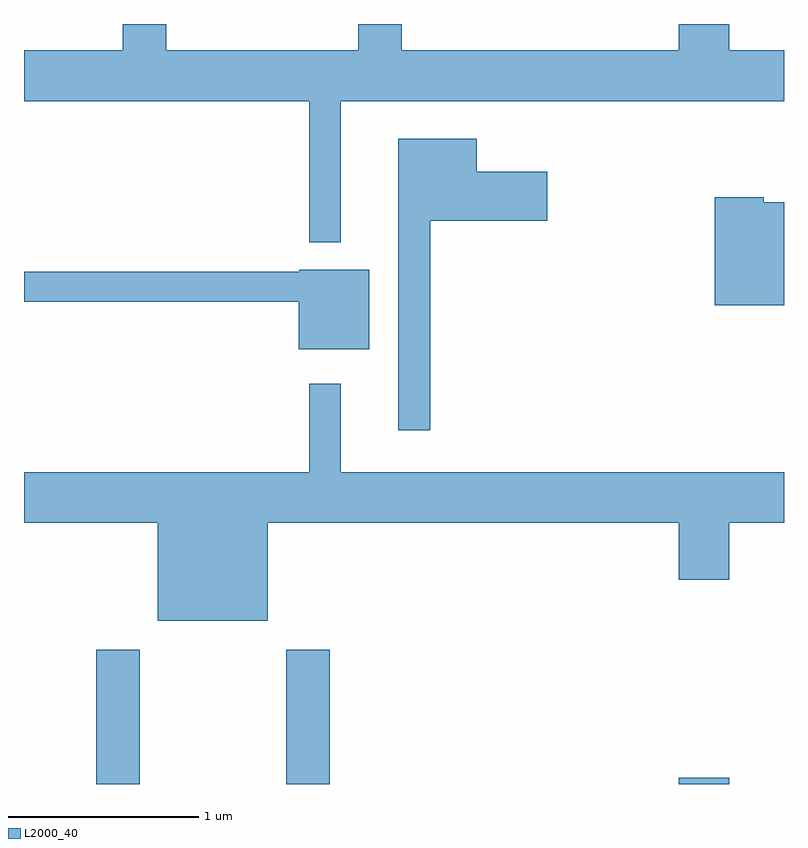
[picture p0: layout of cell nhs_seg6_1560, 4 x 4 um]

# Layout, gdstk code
import gdstk
lib = gdstk.Library(unit=1e-6, precision=1e-09)
def R(c, l, rs):  # rectangles x0, y0, x1, y1
    for r in rs: c.add(gdstk.rectangle(r[:2], r[2:], *l))
def P(c, l, *ps):  # polygons
    for p in ps: c.add(gdstk.Polygon(p, *l))
L2000_40 = (2000, 40)

nhs_seg6_1560 = lib.new_cell('nhs_seg6_1560')
R(nhs_seg6_1560, L2000_40, [(231.991,1604.162,232.219,1604.869), (232.991,1604.162,233.219,1604.869), (235.056,1604.162,235.324,1604.194)])
P(nhs_seg6_1560, L2000_40, [(233.279,1607.756),(235.611,1607.756),(235.611,1608.024),(235.324,1608.024),(235.324,1608.162),(235.056,1608.162),(235.056,1608.024),(233.599,1608.024),(233.599,1608.162),(233.371,1608.162),(233.371,1608.024),(232.359,1608.024),(232.359,1608.162),(232.131,1608.162),(232.131,1608.024),(231.611,1608.024),(231.611,1607.756),(233.111,1607.756),(233.111,1607.013),(233.279,1607.013)],
  [(233.749,1607.126),(234.364,1607.126),(234.364,1607.384),(233.994,1607.384),(233.994,1607.559),(233.581,1607.559),(233.581,1606.023),(233.749,1606.023)],
  [(235.611,1607.224),(235.504,1607.224),(235.504,1607.249),(235.246,1607.249),(235.246,1606.681),(235.611,1606.681)],
  [(233.429,1606.869),(233.06,1606.869),(233.06,1606.859),(231.611,1606.859),(231.611,1606.701),(233.056,1606.701),(233.056,1606.451),(233.429,1606.451)],
  [(232.894,1605.536),(235.056,1605.536),(235.056,1605.236),(235.324,1605.236),(235.324,1605.536),(235.611,1605.536),(235.611,1605.804),(233.279,1605.804),(233.279,1606.268),(233.111,1606.268),(233.111,1605.804),(231.611,1605.804),(231.611,1605.536),(232.316,1605.536),(232.316,1605.021),(232.894,1605.021)])

lib.write_gds('nhs_seg6_1560.gds')
